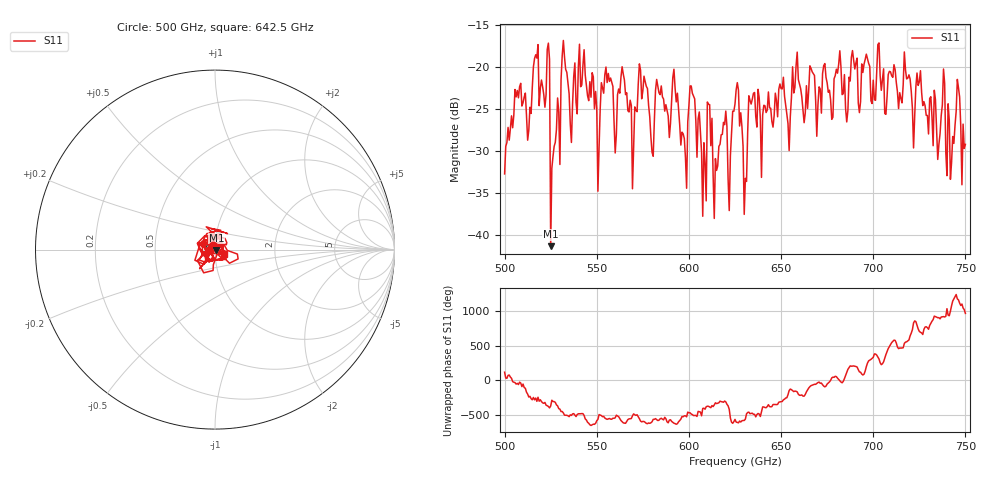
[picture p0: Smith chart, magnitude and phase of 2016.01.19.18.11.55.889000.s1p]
!Created with skrf (http://scikit-rf.org).
# GHz S RI R 50.0
!freq ReS11 ImS11
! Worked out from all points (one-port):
!   401 points, 500 GHz to 750 GHz, reference 50 ohm
!   lowest |S11| = -41.4 dB at 525 GHz (marker M1), VSWR 1.02, Z = 50.8 - j0.235 ohm
!   |S11| at or under -10 dB: start of sweep to end of sweep
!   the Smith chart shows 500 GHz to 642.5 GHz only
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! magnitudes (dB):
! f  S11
! 500 GHz  -32.7
! 506.9 GHz  -22.8
! 513.1 GHz  -27.5
! 516.9 GHz  -18.5
! 523.1 GHz  -17.9
! 525 GHz  -41.4
! 526.2 GHz  -30.7
! 531.2 GHz  -18.6
! 541.9 GHz  -22.1
! 550 GHz  -25.0
! 562.5 GHz  -23.1
! 570.6 GHz  -24.8
! 574.4 GHz  -23.8
! 580 GHz  -30.2
! 583.1 GHz  -22.3
! 593.8 GHz  -23.1
! 597.5 GHz  -28.5
! 601.9 GHz  -23.1
! 608.1 GHz  -29.0
! 611.2 GHz  -24.5
! 614.4 GHz  -30.9
! 625 GHz  -24.4
! 630.6 GHz  -33.3
! 633.8 GHz  -24.4
! 656.2 GHz  -20.0
! 687.5 GHz  -21.7
! 718.8 GHz  -21.3
! 750 GHz  -29.2
